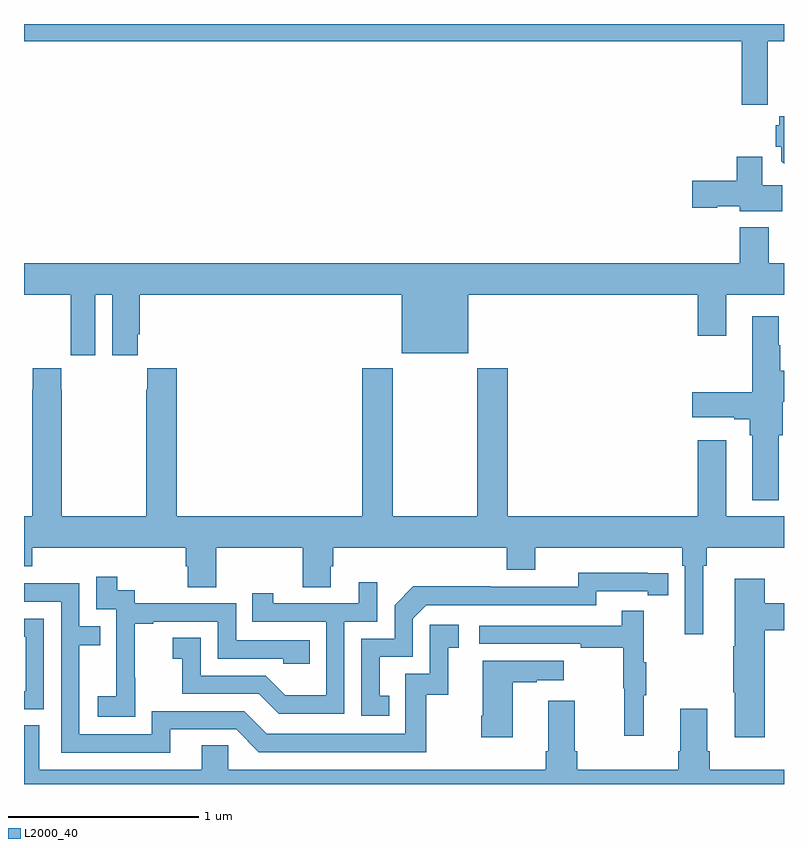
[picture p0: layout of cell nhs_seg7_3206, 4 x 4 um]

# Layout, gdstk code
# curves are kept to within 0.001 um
import gdstk
lib = gdstk.Library(unit=1e-6, precision=1e-09)
def P(c, l, *ps):  # polygons
    for p in ps: c.add(gdstk.Polygon(p, *l))
L2000_40 = (2000, 40)

nhs_seg7_3206 = lib.new_cell('nhs_seg7_3206')
P(nhs_seg7_3206, L2000_40, [(318.914,1041.908),(319,1041.908),(319,1042),(315,1042),(315,1041.908),(318.778,1041.908),(318.778,1041.576),(318.914,1041.576)],
  [(319,1041.514),(318.974,1041.514),(318.974,1041.468),(318.956,1041.468),(318.956,1041.354),(318.986,1041.354),(318.986,1041.278),(319,1041.264)],
  [(318.991,1041.152),(318.886,1041.152),(318.886,1041.301),(318.752,1041.301),(318.752,1041.176),(318.516,1041.176),(318.516,1041.034),(318.648,1041.034),(318.648,1041.041),(318.768,1041.041),(318.768,1041.014),(318.991,1041.014)],
  [(315.376,1040.576),(315.464,1040.576),(315.464,1040.256),(315.598,1040.256),(315.598,1040.368),(315.608,1040.368),(315.608,1040.576),(316.988,1040.576),(316.988,1040.267),(317.338,1040.267),(317.338,1040.576),(318.545,1040.576),(318.545,1040.358),(318.697,1040.358),(318.697,1040.576),(319,1040.576),(319,1040.74),(318.919,1040.74),(318.919,1040.929),(318.767,1040.929),(318.767,1040.74),(315,1040.74),(315,1040.576),(315.245,1040.576),(315.245,1040.368),(315.246,1040.368),(315.246,1040.256),(315.376,1040.256)],
  [(318.973,1039.835),(318.993,1039.835),(318.993,1040.012),(319,1040.012),(319,1040.176),(318.981,1040.176),(318.981,1040.31),(318.973,1040.31),(318.973,1040.461),(318.833,1040.461),(318.833,1040.061),(318.516,1040.061),(318.516,1039.931),(318.737,1039.931),(318.737,1039.919),(318.821,1039.919),(318.821,1039.835),(318.833,1039.835),(318.833,1039.493),(318.973,1039.493)],
  [(315.851,1039.146),(315.863,1039.146),(315.863,1039.036),(316.011,1039.036),(316.011,1039.244),(316.468,1039.244),(316.468,1039.036),(316.615,1039.036),(316.615,1039.146),(316.628,1039.146),(316.628,1039.244),(317.54,1039.244),(317.54,1039.127),(317.692,1039.127),(317.692,1039.244),(318.464,1039.244),(318.464,1039.148),(318.477,1039.148),(318.477,1038.789),(318.574,1038.789),(318.574,1039.148),(318.593,1039.148),(318.593,1039.244),(319,1039.244),(319,1039.408),(318.697,1039.408),(318.697,1039.81),(318.545,1039.81),(318.545,1039.408),(317.546,1039.408),(317.546,1040.188),(317.386,1040.188),(317.386,1039.408),(316.941,1039.408),(316.941,1040.188),(316.781,1040.188),(316.781,1039.408),(315.803,1039.408),(315.803,1040.188),(315.649,1040.188),(315.649,1040.075),(315.643,1040.075),(315.643,1039.408),(315.198,1039.408),(315.198,1040.075),(315.195,1040.075),(315.195,1040.188),(315.045,1040.188),(315.045,1040.075),(315.043,1040.075),(315.043,1039.408),(315,1039.408),(315,1039.145),(315.044,1039.145),(315.044,1039.244),(315.851,1039.244)],
  [(316.922,1038.465),(316.873,1038.465),(316.873,1038.669),(317.046,1038.669),(317.046,1038.87),(317.118,1038.942),(318.012,1038.942),(318.012,1039.014),(318.284,1039.014),(318.284,1038.994),(318.392,1038.994),(318.392,1039.11),(317.916,1039.111),(317.916,1039.038),(317.456,1039.038),(317.456,1039.04),(317.048,1039.04),(316.95,1038.942),(316.95,1038.765),(316.776,1038.765),(316.776,1038.36),(316.922,1038.36)],
  [(315.585,1038.559),(315.584,1038.559),(315.584,1038.843),(315.679,1038.843),(315.679,1038.855),(316.02,1038.855),(316.02,1038.66),(316.365,1038.66),(316.365,1038.633),(316.505,1038.633),(316.505,1038.756),(316.116,1038.756),(316.116,1038.951),(315.582,1038.951),(315.582,1039.02),(315.49,1039.02),(315.49,1039.09),(315.381,1039.09),(315.381,1038.921),(315.486,1038.921),(315.486,1038.692),(315.485,1038.692),(315.485,1038.463),(315.387,1038.463),(315.387,1038.353),(315.585,1038.353)],
  [(318.899,1038.809),(319,1038.809),(319,1038.951),(318.899,1038.951),(318.899,1039.081),(318.74,1039.081),(318.74,1038.725),(318.733,1038.725),(318.733,1038.484),(318.74,1038.484),(318.74,1038.246),(318.899,1038.246)],
  [(316.686,1038.855),(316.86,1038.855),(316.86,1039.063),(316.763,1039.063),(316.763,1038.951),(316.312,1038.951),(316.312,1039.003),(316.201,1039.003),(316.201,1038.855),(316.59,1038.855),(316.59,1038.466),(316.376,1038.466),(316.272,1038.57),(315.93,1038.57),(315.93,1038.769),(315.783,1038.769),(315.783,1038.659),(315.832,1038.659),(315.832,1038.474),(316.235,1038.474),(316.34,1038.369),(316.686,1038.369)],
  [(315.769,1038.288),(316.116,1038.288),(316.236,1038.168),(317.116,1038.168),(317.116,1038.471),(317.234,1038.471),(317.234,1038.717),(317.287,1038.717),(317.287,1038.838),(317.136,1038.838),(317.136,1038.579),(317.007,1038.579),(317.007,1038.264),(316.278,1038.264),(316.158,1038.384),(315.672,1038.384),(315.672,1038.261),(315.291,1038.261),(315.291,1038.73),(315.401,1038.73),(315.401,1038.831),(315.291,1038.831),(315.291,1039.056),(315,1039.056),(315,1038.96),(315.195,1038.96),(315.195,1038.165),(315.769,1038.165)],
  [(318.263,1038.467),(318.274,1038.467),(318.274,1038.641),(318.263,1038.641),(318.263,1038.913),(318.145,1038.913),(318.145,1038.834),(317.397,1038.834),(317.397,1038.738),(317.929,1038.738),(317.929,1038.718),(318.153,1038.718),(318.153,1038.504),(318.16,1038.504),(318.16,1038.255),(318.263,1038.255)],
  [(315.105,1038.87),(315,1038.87),(315,1038.774),(315.009,1038.774),(315.009,1038.489),(315,1038.489),(315,1038.393),(315.105,1038.393)],
  [(317.572,1038.535),(317.699,1038.535),(317.699,1038.545),(317.842,1038.545),(317.842,1038.649),(317.414,1038.649),(317.414,1038.358),(317.407,1038.358),(317.407,1038.246),(317.572,1038.246)],
  [(319,1038.076),(318.608,1038.076),(318.608,1038.172),(318.595,1038.172),(318.595,1038.397),(318.455,1038.397),(318.455,1038.172),(318.443,1038.172),(318.443,1038.076),(317.912,1038.076),(317.912,1038.172),(317.899,1038.172),(317.899,1038.439),(317.759,1038.439),(317.759,1038.172),(317.747,1038.172),(317.747,1038.076),(316.074,1038.076),(316.074,1038.203),(315.935,1038.203),(315.935,1038.076),(315.079,1038.076),(315.079,1038.308),(315,1038.308),(315,1038),(319,1038)])

lib.write_gds('nhs_seg7_3206.gds')
